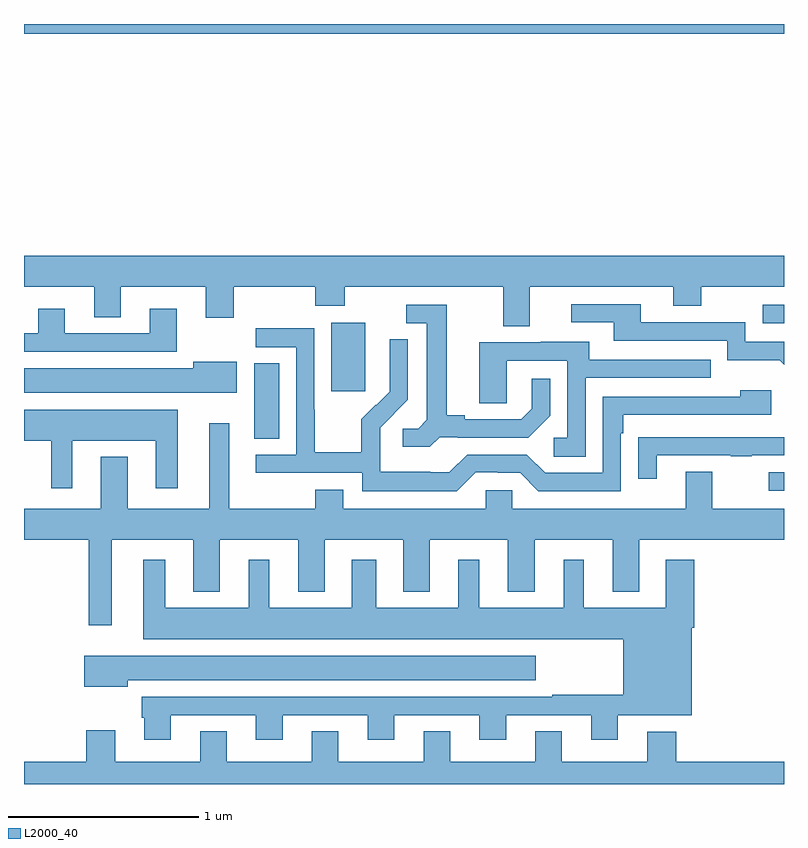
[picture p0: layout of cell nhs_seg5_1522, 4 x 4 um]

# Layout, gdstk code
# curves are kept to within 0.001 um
import gdstk
lib = gdstk.Library(unit=1e-6, precision=1e-09)
def R(c, l, rs):  # rectangles x0, y0, x1, y1
    for r in rs: c.add(gdstk.rectangle(r[:2], r[2:], *l))
def P(c, l, *ps):  # polygons
    for p in ps: c.add(gdstk.Polygon(p, *l))
L2000_40 = (2000, 40)

nhs_seg5_1522 = lib.new_cell('nhs_seg5_1522')
R(nhs_seg5_1522, L2000_40, [(206.919,866.343,207,866.439), (204.212,866.617,204.343,867.014), (204.617,866.865,204.796,867.226), (206.889,867.225,207,867.321), (203,868.748,207,868.799)])
P(nhs_seg5_1522, L2000_40, [(205.663,867.416),(206.417,867.416),(206.417,867.317),(206.565,867.317),(206.565,867.416),(207,867.416),(207,867.58),(203,867.58),(203,867.416),(203.369,867.416),(203.369,867.256),(203.509,867.256),(203.509,867.416),(203.957,867.416),(203.957,867.252),(204.105,867.252),(204.105,867.416),(204.532,867.416),(204.532,867.317),(204.687,867.317),(204.687,867.416),(205.523,867.416),(205.523,867.208),(205.663,867.208)],
  [(207,867.126),(206.796,867.126),(206.796,867.228),(206.245,867.228),(206.245,867.324),(205.881,867.324),(205.881,867.228),(206.105,867.228),(206.105,867.132),(206.7,867.132),(206.7,867.029),(206.977,867.029),(207,867.006)],
  [(205.188,866.625),(205.282,866.625),(205.282,866.622),(205.654,866.622),(205.77,866.738),(205.77,866.932),(205.673,866.932),(205.673,866.775),(205.616,866.718),(205.321,866.718),(205.321,866.741),(205.225,866.741),(205.225,867.321),(205.011,867.321),(205.011,867.225),(205.121,867.225),(205.121,866.717),(205.074,866.67),(204.993,866.67),(204.993,866.573),(205.136,866.573)],
  [(203.803,867.301),(203.663,867.301),(203.663,867.171),(203.215,867.171),(203.215,867.301),(203.075,867.301),(203.075,867.171),(203,867.171),(203,867.075),(203.803,867.075)],
  [(205.377,866.439),(205.493,866.439),(205.493,866.436),(205.611,866.436),(205.707,866.34),(206.142,866.34),(206.142,866.645),(206.155,866.645),(206.155,866.742),(206.932,866.742),(206.932,866.872),(206.771,866.872),(206.771,866.838),(206.046,866.838),(206.046,866.436),(205.743,866.436),(205.647,866.532),(205.332,866.532),(205.239,866.439),(205.139,866.439),(205.139,866.443),(204.876,866.443),(204.876,866.577),(204.874,866.577),(204.874,866.674),(205.02,866.822),(205.02,867.14),(204.924,867.14),(204.924,866.986),(204.926,866.986),(204.926,866.864),(204.855,866.793),(204.852,866.796),(204.775,866.719),(204.775,866.545),(204.531,866.545),(204.531,866.768),(204.528,866.768),(204.528,867.198),(204.219,867.198),(204.219,867.099),(204.432,867.099),(204.432,866.532),(204.219,866.532),(204.219,866.436),(204.78,866.436),(204.78,866.339),(205.277,866.339)],
  [(205.956,866.937),(206.615,866.937),(206.615,867.033),(205.975,867.033),(205.975,867.127),(205.721,867.127),(205.721,867.123),(205.397,867.123),(205.397,866.803),(205.542,866.803),(205.542,867.027),(205.86,867.027),(205.86,866.622),(205.788,866.622),(205.788,866.521),(205.956,866.521)],
  [(204.121,867.022),(203.891,867.022),(203.891,866.986),(203,866.986),(203,866.858),(204.121,866.858)],
  [(203.254,866.606),(203.693,866.606),(203.693,866.355),(203.809,866.355),(203.809,866.77),(203,866.77),(203,866.606),(203.144,866.606),(203.144,866.355),(203.254,866.355)],
  [(203.461,866.084),(203.891,866.084),(203.891,865.811),(204.031,865.811),(204.031,866.084),(204.443,866.084),(204.443,865.811),(204.583,865.811),(204.583,866.084),(204.995,866.084),(204.995,865.811),(205.135,865.811),(205.135,866.084),(205.547,866.084),(205.547,865.811),(205.687,865.811),(205.687,866.084),(206.099,866.084),(206.099,865.811),(206.239,865.811),(206.239,866.084),(207,866.084),(207,866.248),(206.623,866.248),(206.623,866.443),(206.483,866.443),(206.483,866.248),(205.569,866.248),(205.569,866.346),(205.431,866.346),(205.431,866.248),(204.679,866.248),(204.679,866.347),(204.532,866.347),(204.532,866.248),(204.079,866.248),(204.079,866.698),(203.975,866.698),(203.975,866.248),(203.545,866.248),(203.545,866.521),(203.405,866.521),(203.405,866.248),(203,866.248),(203,866.084),(203.34,866.084),(203.34,865.635),(203.461,865.635)],
  [(206.329,866.529),(206.719,866.529),(206.719,866.524),(206.831,866.524),(206.831,866.529),(207,866.529),(207,866.625),(206.335,866.625),(206.335,866.624),(206.233,866.624),(206.233,866.406),(206.329,866.406)],
  [(203.773,865.161),(204.221,865.161),(204.221,865.032),(204.361,865.032),(204.361,865.161),(204.809,865.161),(204.809,865.032),(204.949,865.032),(204.949,865.161),(205.397,865.161),(205.397,865.032),(205.537,865.032),(205.537,865.161),(205.985,865.161),(205.985,865.032),(206.125,865.032),(206.125,865.16),(206.515,865.16),(206.515,865.622),(206.528,865.622),(206.528,865.978),(206.378,865.978),(206.378,865.726),(205.945,865.726),(205.945,865.978),(205.841,865.978),(205.841,865.726),(205.396,865.726),(205.396,865.978),(205.286,865.978),(205.286,865.726),(204.853,865.726),(204.853,865.978),(204.725,865.978),(204.725,865.726),(204.292,865.726),(204.292,865.978),(204.182,865.978),(204.182,865.726),(203.743,865.726),(203.743,865.978),(203.627,865.978),(203.627,865.562),(206.153,865.562),(206.153,865.27),(205.78,865.27),(205.78,865.257),(203.621,865.257),(203.621,865.149),(203.633,865.149),(203.633,865.032),(203.773,865.032)],
  [(203.545,865.346),(205.693,865.346),(205.693,865.474),(203.316,865.474),(203.316,865.31),(203.545,865.31)],
  [(207,864.916),(206.432,864.916),(206.432,865.075),(206.279,865.075),(206.279,864.916),(205.831,864.916),(205.831,865.076),(205.691,865.076),(205.691,864.916),(205.243,864.916),(205.243,865.076),(205.103,865.076),(205.103,864.916),(204.655,864.916),(204.655,865.076),(204.515,865.076),(204.515,864.916),(204.067,864.916),(204.067,865.076),(203.927,865.076),(203.927,864.916),(203.479,864.916),(203.479,865.081),(203.327,865.081),(203.327,864.916),(203,864.916),(203,864.799),(207,864.799)])

lib.write_gds('nhs_seg5_1522.gds')
